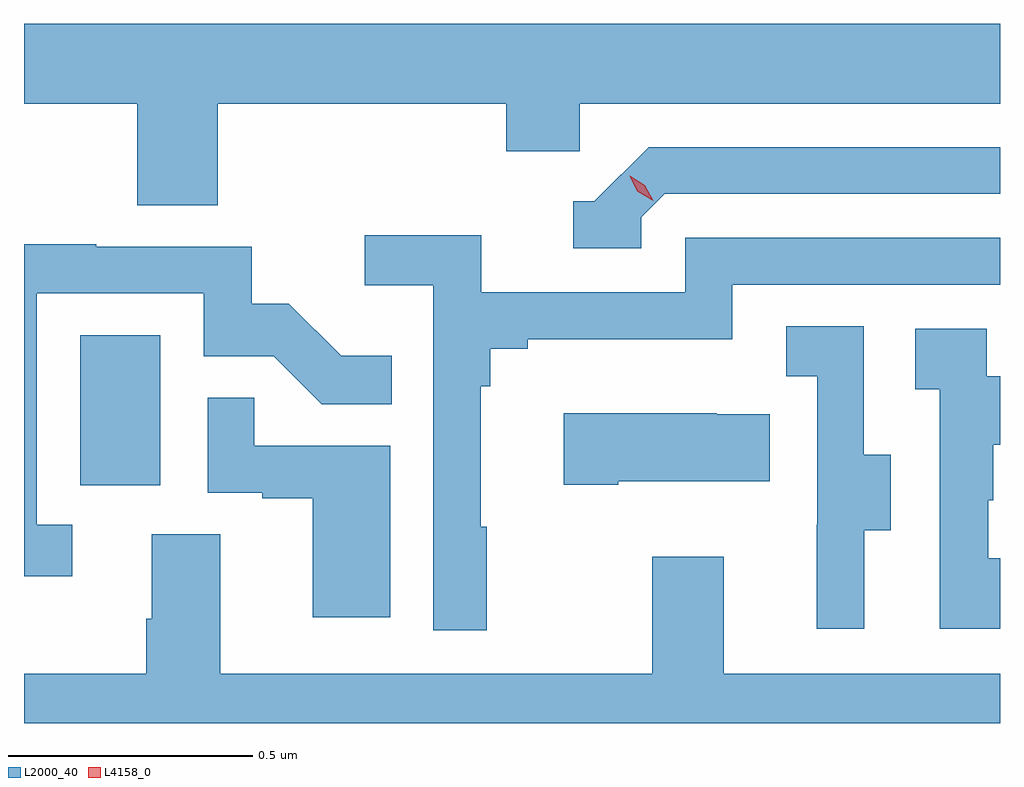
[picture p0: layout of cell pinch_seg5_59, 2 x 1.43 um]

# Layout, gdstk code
import gdstk
lib = gdstk.Library(unit=1e-6, precision=1e-09)
def R(c, l, rs):  # rectangles x0, y0, x1, y1
    for r in rs: c.add(gdstk.rectangle(r[:2], r[2:], *l))
def P(c, l, *ps):  # polygons
    for p in ps: c.add(gdstk.Polygon(p, *l))
L2000_40 = (2000, 40)
L4158_0 = (4158, 0)

pinch_seg5_59 = lib.new_cell('pinch_seg5_59')
R(pinch_seg5_59, L2000_40, [(1065.086,897.27,1065.25,897.577)])
P(pinch_seg5_59, L2000_40, [(1064.971,898.052),(1065.203,898.052),(1065.203,897.844),(1065.368,897.844),(1065.368,898.052),(1065.959,898.052),(1065.959,897.954),(1066.11,897.954),(1066.11,898.052),(1066.971,898.052),(1066.971,898.216),(1064.971,898.216)],
  [(1066.236,897.819),(1066.284,897.867),(1066.971,897.867),(1066.971,897.963),(1066.251,897.963),(1066.14,897.852),(1066.097,897.852),(1066.097,897.756),(1066.236,897.756)],
  [(1065.919,897.185),(1065.907,897.185),(1065.907,897.473),(1065.926,897.473),(1065.926,897.55),(1066.003,897.55),(1066.003,897.569),(1066.422,897.569),(1066.422,897.681),(1066.971,897.681),(1066.971,897.777),(1066.326,897.777),(1066.326,897.666),(1065.908,897.666),(1065.908,897.782),(1065.669,897.782),(1065.669,897.68),(1065.81,897.68),(1065.81,896.973),(1065.919,896.973)],
  [(1065.07,897.189),(1064.997,897.189),(1064.997,897.663),(1065.339,897.663),(1065.339,897.534),(1065.483,897.534),(1065.581,897.436),(1065.725,897.436),(1065.725,897.535),(1065.621,897.535),(1065.514,897.642),(1065.438,897.642),(1065.438,897.759),(1065.119,897.759),(1065.119,897.764),(1064.971,897.764),(1064.971,897.084),(1065.07,897.084)],
  [(1066.693,897.178),(1066.747,897.178),(1066.747,897.333),(1066.692,897.333),(1066.692,897.596),(1066.533,897.596),(1066.533,897.493),(1066.596,897.493),(1066.596,897.189),(1066.595,897.189),(1066.595,896.976),(1066.693,896.976)],
  [(1066.971,897.12),(1066.947,897.12),(1066.947,897.239),(1066.957,897.239),(1066.957,897.353),(1066.971,897.353),(1066.971,897.493),(1066.944,897.493),(1066.944,897.591),(1066.797,897.591),(1066.797,897.467),(1066.848,897.467),(1066.848,896.976),(1066.971,896.976)],
  [(1065.721,897.351),(1065.443,897.351),(1065.443,897.449),(1065.348,897.449),(1065.348,897.255),(1065.459,897.255),(1065.459,897.243),(1065.563,897.243),(1065.563,897),(1065.721,897)],
  [(1066.189,897.278),(1066.499,897.278),(1066.499,897.415),(1066.391,897.415),(1066.391,897.418),(1066.077,897.418),(1066.077,897.271),(1066.189,897.271)],
  [(1066.971,896.884),(1066.405,896.884),(1066.405,897.124),(1066.258,897.124),(1066.258,896.884),(1065.373,896.884),(1065.373,897.17),(1065.233,897.17),(1065.233,896.996),(1065.221,896.996),(1065.221,896.884),(1064.971,896.884),(1064.971,896.782),(1066.971,896.782)])
P(pinch_seg5_59, L4158_0, [(1066.26,897.853),(1066.228,897.872),(1066.212,897.904),(1066.212,897.904),(1066.212,897.904),(1066.243,897.885),(1066.26,897.853),(1066.26,897.853)])

lib.write_gds('pinch_seg5_59.gds')
